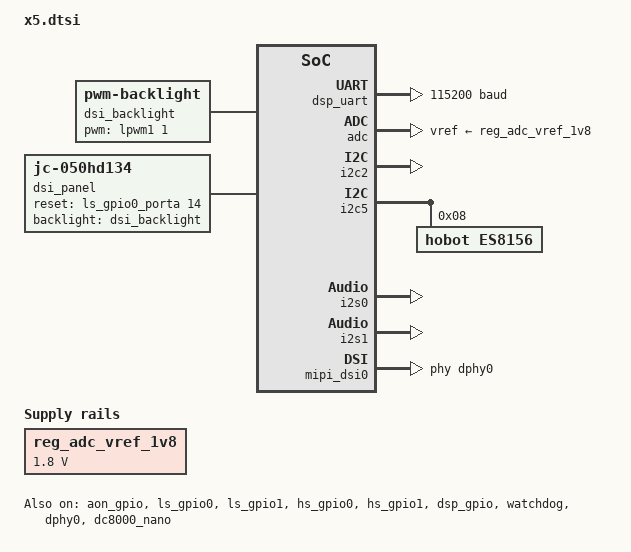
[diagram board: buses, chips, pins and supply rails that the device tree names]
// SPDX-License-Identifier: BSD-2-Clause
/*
 * Copyright(C) 2024, D-Robotics Co., Ltd. All rights reserved
 */

/dts-v1/;

#include <configs/x5.h>
#include <dt-bindings/gpio/gpio.h>
#include <dt-bindings/board/hb_board_id.h>
#include <dt-bindings/pinctrl/horizon-pinfunc.h>

/ {
	compatible = "Horizon,x5";

	#address-cells = <1>;
	#size-cells = <1>;

	/* Reserved memory for display framebuffer */
	reserved-memory {
		#address-cells = <1>;
		#size-cells = <1>;
		ranges;

		/*
		 * Framebuffer memory: 32MB at fixed address
		 * Supports up to 4K (3840x2160) ARGB32 = 31.64MB
		 *
		 * IMPORTANT: Must NOT overlap with kernel reserved regions!
		 * Kernel isp_cma: 0x88000000 - 0x9FE00000 (382MB)
		 * Kernel adsp_ddr: 0x9FE80000 - 0xA2080000 (34MB)
		 *
		 * Safe region: 0xA2080000 - 0xA4080000 (32MB gap before ramoops)
		 */
		display_reserved: framebuffer@A2080000 {
			reg = <0xa2080000 0x2000000>;  /* 32MB for 4K support */
			no-map;
		};
	};

	chosen {
		stdout-path = &dsp_uart;
		initial-devices = &board_type;
	};

	config {
		u-boot,mmc-env-partition = "ubootenv";
	};

	cipher {
		key-aes128-fit_enc_key-fit_enc_iv {
			key = "2222222222222222";
			iv =  "1111111111111111";
		};
	};

	board_type: board_type {
		compatible = "hobot,btype";
		adc_dev = &adc, &adc;
		adc_channel = <0 1>;
		board_type_array =
				<0 50 0 40 HOBOT_X5_FPGA_ID 0 0 0 0 0>,
				<1100 1300 800 1000 HOBOT_X5_SOC_ID 1 0 0 1 0>,
				<0 40 40 80 HOBOT_X5_SVB_ID 2 0 0 0 0>,
				<151 240 51 140 HOBOT_X5_EVB_LP4_1_A_ID 3 0 0 1 0>,
				<151 240 151 240 HOBOT_X5_EVB_LP4_1_B_ID 3 0 0 1 1>,
				<151 240 251 340 HOBOT_X5_EVB_LP4_V1P2_ID 3 0 0 1 7>,
				<151 240 351 440 HOBOT_X5_EVB_LP4_V1P3_ID 3 0 0 1 8>,
				<151 240 451 540 HOBOT_X5_EVB_LP4_V2P0_ID 3 0 0 1 9>,
				<351 440 51 140 HOBOT_X5_EVB_LP4X_V0P1_ID 4 0 0 1 2>,
				<251 340 51 140 HOBOT_X5_RDK_ID 5 0 0 1 2>,
				<251 340 151 240 HOBOT_X5_RDK_V1P0_ID 5 0 0 1 5>,
				<451 540 51 140 HOBOT_X5_MD_V0P1_ID 6 0 0 1 2>,
				<451 540 151 240 HOBOT_X5_MD_V0P2_ID 6 0 0 1 3>,
				<451 540 251 340 HOBOT_X5_MD_V0P3_ID 6 0 0 1 4>,
				<451 540 351 440 HOBOT_X5_MD_V1P0_ID 6 0 0 1 5>,
				<451 540 451 540 HOBOT_X5_MD_V1P1_ID 6 0 0 1 6>,
				<451 540 551 640 HOBOT_X5_MD_V1P2_ID 6 0 0 1 7>;
		hardware_array = "x5-fpga", "x5-soc", "x5-svb", "X5_EVB_LP4", "X5_EVB_LP4X", "X5-RDK", "X5-MD";
		ethact_array = "default";
		net_eth0_ipaddr = "192.168.1.10";
		pmic_type = "dual-pmic", "single-pmic";
		board_version = "1_A", "1_B", "V0P1", "V0P2", "V0P3", "V1P0", "V1P1", "V1P2", "V1P3", "V2P0";
	};

	aon_gpio: gpio@31000000 {
		compatible = "snps,dw-apb-gpio";
		status = "okay";
		reg = <0x31000000 0x10000>;
		#address-cells = <1>;
		#size-cells = <0>;

		aon_gpio_porta: gpio@0 {
			compatible = "snps,dw-apb-gpio-port";
			gpio-controller;
			snps,nr-gpios = <8>;
			reg = <0>;
			#gpio-cells = <2>;
			gpio-ranges = <&aon_iomuxc 0 0 8>;
			gpio-base = <498>;
		};
	};

	aon_iomuxc: aon_iomuxc@31040000 {
		compatible = "d-robotics,horizon-aon-iomuxc";
		reg = <0x31040000 0x14>;
		horizon,gpio-banks = <&aon_gpio>;
	};

	ls_gpio0: gpio@34120000 {
		compatible = "snps,dw-apb-gpio";
		status = "okay";
		reg = <0x34120000 0x10000>;
		#address-cells = <1>;
		#size-cells = <0>;

		ls_gpio0_porta: gpio@ls_0 {
			compatible = "snps,dw-apb-gpio-port";
			gpio-controller;
			snps,nr-gpios = <LSIO_GPIO0_NUM>;
			reg = <0>;
			#gpio-cells = <2>;
			gpio-ranges = <&lsio_iomuxc 0 0 32>;
			gpio-base = <379>;
		};
	};

	ls_gpio1: gpio@34130000 {
		compatible = "snps,dw-apb-gpio";
		status = "okay";
		reg = <0x34130000 0x10000>;
		#address-cells = <1>;
		#size-cells = <0>;

		ls_gpio1_porta: gpio@ls_1 {
			compatible = "snps,dw-apb-gpio-port";
			gpio-controller;
			snps,nr-gpios = <LSIO_GPIO1_NUM>;
			reg = <0>;
			#gpio-cells = <2>;
			gpio-ranges = <&lsio_iomuxc 0 32 17>;
			gpio-base = <347>;
		};
	};
	lsio_iomuxc: lsio_iomuxc@34180000 {
		compatible = "d-robotics,horizon-lsio-iomuxc";
		reg = <0x34180000 0x200>;
		horizon,gpio-banks = <&ls_gpio0 &ls_gpio1>;
	};

	hs_gpio0: gpio@35060000 {
		compatible = "snps,dw-apb-gpio";
		status = "okay";
		reg = <0x35060000 0x10000>;
		#address-cells = <1>;
		#size-cells = <0>;

		hs_gpio0_porta: gpio@hs_0 {
			compatible = "snps,dw-apb-gpio-port";
			gpio-controller;
			snps,nr-gpios = <HSIO_GPIO0_NUM>;
			reg = <0>;
			#gpio-cells = <2>;
			gpio-ranges = <&hsio_iomuxc 0 0 31>;
			gpio-base = <466>;
		};
	};

	hs_gpio1: gpio@35070000 {
		compatible = "snps,dw-apb-gpio";
		status = "okay";
		reg = <0x35070000 0x10000>;
		#address-cells = <1>;
		#size-cells = <0>;

		hs_gpio1_porta: gpio@hs_1 {
			compatible = "snps,dw-apb-gpio-port";
			gpio-controller;
			snps,nr-gpios = <HSIO_GPIO1_NUM>;
			reg = <0>;
			#gpio-cells = <2>;
			gpio-ranges = <&hsio_iomuxc 0 31 18>;
			gpio-base = <434>;
		};
	};
	hsio_iomuxc: hsio_iomuxc@35050000 {
		compatible = "d-robotics,horizon-hsio-iomuxc";
		reg = <0x35050000 0x200>,	/* iomux */
				<0x31040040 0x4>;	/* mode select */
		horizon,gpio-banks = <&hs_gpio0>, <&hs_gpio1>;
	};

	dsp_gpio: gpio@32150000 {
		compatible = "snps,dw-apb-gpio";
		status = "okay";
		reg = <0x32150000 0x10000>;
		#address-cells = <1>;
		#size-cells = <0>;

		dsp_gpio_porta: gpio@dsp {
			compatible = "snps,dw-apb-gpio-port";
			gpio-controller;
			snps,nr-gpios = <DSP_GPIO_NUM>;
			reg = <0>;
			#gpio-cells = <2>;
			gpio-ranges = <&dsp_iomuxc 0 0 23>;
			gpio-base = <411>;
		};
	};

	dsp_iomuxc: dsp_iomuxc@31040014 {
		compatible = "d-robotics,horizon-dsp-iomuxc";
		reg = <0x31040014 0x100>;
		horizon,gpio-banks = <&dsp_gpio>;
	};

	lsio_sys_con: syscon@34180000 {
		compatible = "syscon";
		reg = <0x34180000 0x10000>;
	};

	reg_adc_vref_1v8: regulator-1v8 {
		compatible = "regulator-fixed";
		regulator-name = "adc_1v8";
		regulator-min-microvolt = <1800000>;
		regulator-max-microvolt = <1800000>;
	};

	clocks {
		compatible = "simple-bus";
		refclk: ref {
			compatible = "fixed-clock";
			#clock-cells = <0>;
			clock-frequency = <CONFIG_SYS_CLK_FREQ>;
		};
		sdclk: sdclk {
			compatible = "fixed-clock";
			#clock-cells = <0>;
			clock-frequency = <SD_EMMC_CLK_FREQ>;
		};
		qspiclk: qspiclk {
			compatible = "fixed-clock";
			#clock-cells = <0>;
			clock-frequency = <QSPI_CLK_FREQ>;
		};
		adcclk: adcclk {
			compatible = "fixed-clock";
			#clock-cells = <0>;
			clock-frequency = <ADC_CLK_FREQ>;
		};
		i2cclk: i2cclk {
			compatible = "fixed-clock";
			#clock-cells = <0>;
			clock-frequency = <I2C_CLK_FREQ>;
		};
		uartclk: uartclk {
			compatible = "fixed-clock";
			#clock-cells = <0>;
			clock-frequency = <UART_CLK_FREQ>;
		};
		wdtclk: wdtclk {
			compatible = "fixed-clock";
			#clock-cells = <0>;
			clock-frequency = <WDT_CLK_FREQ>;
		};
	};

	dsp_uart: serial@32120000 {
		compatible = "ns16550a";
		reg = <0x32120000 0x10000>;
		clock-frequency = <UART_CLK_FREQ>;
		reg-shift = <2>;
		current-speed = <115200>;
		u-boot,dm-pre-reloc;
		status = "okay";
	};

	watchdog: watchdog@34250000 {
		compatible = "snps,dw-wdt";
		reg = <0x34250000 0x10000>;
		clocks = <&wdtclk>, <&wdtclk>;
		clock-names = "pclk", "tclk";
		timeout-sec = <10>;
		clk-rate-div = <2>;
		syscon-wdt-rst = <&reset_sys_con>;
		syscon-wdt-rst-offset = <0x54>;
		syscon-wdt-rst-bit = <4>;
		status = "okay";
	};

	optee: optee {
		compatible = "linaro,optee-tz";
		method = "smc";
		status = "okay";
	};

	reset_sys_con: syscon@34210000 {
		compatible = "syscon";
		reg = <0x34210000 0x2400>;
	};

	adc: adc@34190000 {
		compatible = "guc,igav04a";
		status = "okay";
		reg = <0x34190000 0x10000>,	/*adc*/
			<0x34180100 0x10>;	/*password*/
		clocks = <&adcclk>;
		clock-names = "adc-clk";
		vref-supply = <&reg_adc_vref_1v8>;
		#io-channel-cells = <1>;
		guc,adc-channels = <0 1 2 3 4 5 6 7>;
		guc,passwd = <12345678>;
		efuse-offset = <0x74>;
		#address-cells = <1>;
		#size-cells = <0>;
	};

	i2c2: i2c@340d0000 {
		compatible = "snps,designware-i2c";
		status = "okay";
		reg = <0x340d0000 0x10000>;
		#address-cells = <1>;
		#size-cells = <0>;
		clocks = <&i2cclk>;
		#clock-names = "i2c-clk";
		pinctrl-names = "default";
		pinctrl-0 = <&pinctrl_i2c2>;
	};

	i2c4: i2c@340f0000 {
		compatible = "snps,designware-i2c";
		status = "disabled";
		reg = <0x340f0000 0x10000>;
		#address-cells = <1>;
		#size-cells = <0>;
		clocks = <&i2cclk>;
		#clock-names = "i2c-clk";
		pinctrl-names = "default";
		pinctrl-0 = <&pinctrl_i2c4>;
	};

	i2c5: i2c@341c0000 {
		compatible = "snps,designware-i2c";
		status = "okay";
		reg = <0x341c0000 0x10000>;
		#address-cells = <1>;
		#size-cells = <0>;
		clocks = <&i2cclk>;
		#clock-names = "i2c-clk";
		pinctrl-names = "default";
		pinctrl-0 = <&pinctrl_i2c5>;

		es8156: es8156@8 {
			reg = <0x8>;
			compatible = "hobot,es8156";
			#sound-dai-cells = <0>;
		};
	};

	/*
	 * DSP I2C7 (reg matches kernel SoC); RDK hangs SII902x here.
	 * CRM: DSP_CLK_ENB bit 21 + DSP SW reset bit 19 (x5_crm_dsp_i2c_pclk_enable).
	 */
	i2c7: i2c@320a0000 {
		compatible = "snps,designware-i2c";
		status = "disabled";
		reg = <0x320a0000 0x10000>;
		#address-cells = <1>;
		#size-cells = <0>;
		clocks = <&i2cclk>;
		#clock-names = "i2c-clk";
		clock-frequency = <100000>;
		pinctrl-names = "default";
		pinctrl-0 = <&pinctrl_dsp_i2c7>;
	};

	board_dts: board_dts {
		compatible = "simple-bus";
		#address-cells = <1>;
		#size-cells = <1>;
		ranges;
	};

        psci {
		compatible = "arm,psci-0.2";
		method = "smc";
	};

	i2s0: i2s0@320b0000 {
		compatible = "hobot, hobot-i2s";
		reg = <0x320b0000 0x10000>;
		#sound-dai-cells = <1>;
		pinctrl-names = "default";
		pinctrl-0 = <&pinctrl_dsp_i2s0>;
		status = "okay";
	};

	i2s1: i2s1@320c0000 {
		compatible = "hobot, hobot-i2s";
		reg = <0x320c0000 0x10000>;
		#sound-dai-cells = <1>;
		pinctrl-names = "default";
		pinctrl-0 = <&pinctrl_dsp_i2s1>;
		status = "okay";
	};

	sound {
		compatible = "hobot,audio-codec";
		status = "okay";

		cpu {
			sound-dai = <&i2s1 0>;
		};

		codec {
			sound-dai = <&es8156>;
		};
	};

	/* Display Subsystem */

	/* LPWM blocks (reg addresses match kernel arch/arm64 hobot/x5.dtsi) */
	lpwm0: pwm@34100000 {
		compatible = "hobot,x5-lpwm";
		reg = <0x34100000 0x100>;
		#pwm-cells = <2>;
		clock-divider = <599>;
		status = "disabled";
	};

	lpwm1: pwm@34110000 {
		compatible = "hobot,x5-lpwm";
		reg = <0x34110000 0x100>;
		#pwm-cells = <2>;
		clock-divider = <599>;
		status = "disabled";
	};

	disp_sys_con: syscon@3e0a0000 {
		compatible = "syscon";
		reg = <0x3e0a0000 0x200>;
	};

	disp_iomuxc: disp_iomuxc@3e0a0054 {
		compatible = "d-robotics,x5-disp-iomuxc";
		reg = <0x3e0a0054 0x4c>;
	};

	dphy0: phy@3e0a0028 {
		compatible = "snps,mipi-dphy";
		reg = <0x3e0a0028 0x2c>;
		#phy-cells = <0>;
		status = "okay";
	};

	mipi_dsi0: mipi_dsi0@3e060000 {
		compatible = "verisilicon,dw-mipi-dsi";
		reg = <0x3e060000 0x20000>;
		phys = <&dphy0>;
		phy-names = "dphy";
		#address-cells = <1>;
		#size-cells = <0>;
		status = "okay";
	};

	dc8000_nano: dc8000@3e000000 {
		compatible = "horizon,dc8000";
		reg = <0x3e000000 0x10000>;
		/* Framebuffer in safe region between adsp_ddr and ramoops */
		framebuffer-base = <0xa2080000>;
		framebuffer-size = <0x2000000>;  /* 32MB for 4K support */
		u-boot,dm-pre-reloc;
		status = "okay";
	};

	dsi_backlight: backlight {
		compatible = "pwm-backlight";
		/* EVB: same as kernel x5-evb.dtsi (&dsi_backlight pwms) */
		pwms = <&lpwm1 1 1000000>;
		brightness-levels = <0 1023>;
		default-brightness-level = <768>;
		status = "okay";
	};

	dsi_panel: panel {
		compatible = "jc-050hd134";
		pinctrl-names = "default";
		pinctrl-0 = <&pinctrl_lsio_gpio0_14>;
		reset-gpios = <&ls_gpio0_porta 14 GPIO_ACTIVE_HIGH>;
		backlight = <&dsi_backlight>;
		/* U-Boot: per-driver timing strings + legacy timing-name fallback */
		d-robotics,jc050-timing = "720x1280@60";
		d-robotics,wh-cm480-timing = "800x480@60";
		d-robotics,st77031-timing = "600x1280@56";
		/*
		 * U-Boot x5_backlight LPWM path uses tick fields (see panel driver).
		 * Optional override: <div period duty> matching prior hardcoded defaults.
		 */
		x5,lpwm-params = <24 999 750>;
		status = "okay";
	};

	/*
	 * HDMI: BT1120 (SoC) + bridge nodes in x5-soc.dtsi (lontium,lt8618, sil,sii9022).
	 * U-Boot picks the bridge by I2C chip ID on enabled nodes (LT8618 first).
	 * SII902x: sil,tmds-mode = "hdmi" | "dvi" (TMDS packet mode; EDID is kernel-only).
	 * U-Boot timing: EDID when available, else bridge default;
	 * setenv x5_hdmi_edid off to skip EDID and use bridge default.
	 */
	bt1120_hdmi: bt1120@3e010000 {
		compatible = "verisilicon,bt1120";
		reg = <0x3e010000 0x10000>;
		pinctrl-names = "default";
		pinctrl-0 = <&pinctrl_bt1120_data>;
		status = "disabled";
	};

};
#include "x5-fpga.dtsi"
#include "x5-svb.dtsi"
#include "x5-soc.dtsi"
#include "x5-rdk.dtsi"
